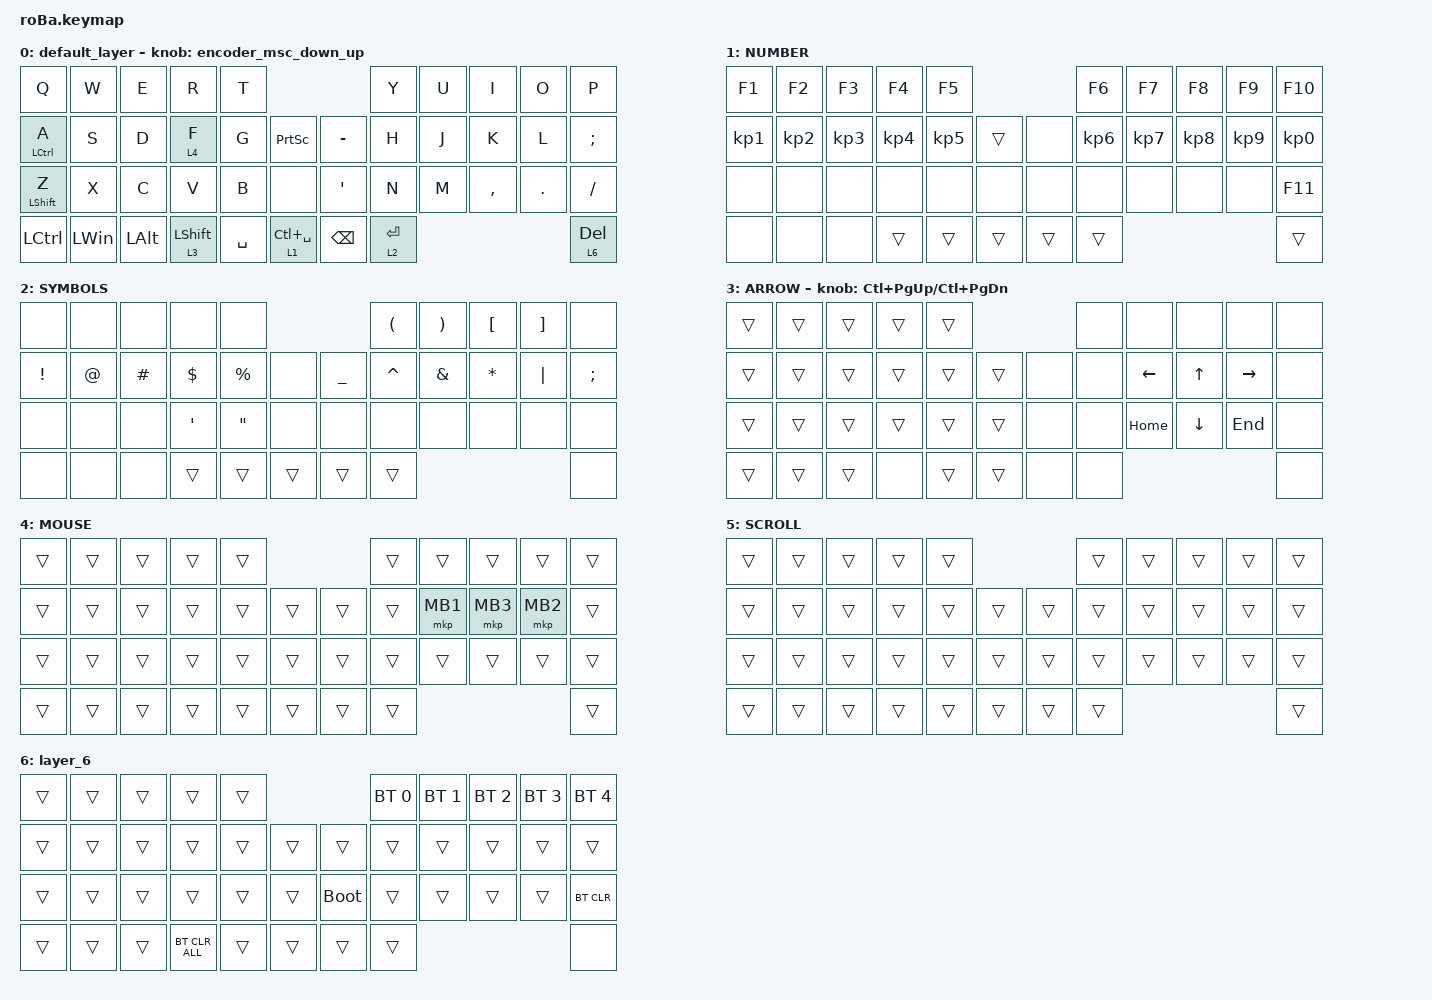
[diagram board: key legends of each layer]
#include <behaviors.dtsi>
#include <dt-bindings/zmk/bt.h>
#include <dt-bindings/zmk/keys.h>
#include <dt-bindings/zmk/pointing.h>

#define ZMK_POINTING_DEFAULT_SCRL_VAL 80

&mt {
    flavor = "balanced";
    quick-tap-ms = <0>;
};

&trackball {
    automouse-layer = <4>;
    scroll-layers = <5>;

    // arrows {
    //     layers = <3>;
    //     bindings =
    //         <&kp RIGHT_ARROW>,
    //         <&kp LEFT_ARROW>,
    //         <&kp UP_ARROW>,
    //         <&kp DOWN_ARROW>;
    //     tick = <10>;
    //     wait-ms = <5>;
    //     tap-ms = <5>;
    // };
};

/ {
    combos {
        compatible = "zmk,combos";

        tab {
            bindings = <&kp TAB>;
            key-positions = <11 12>;
        };

        shift_tab {
            bindings = <&kp LS(TAB)>;
            key-positions = <12 13>;
        };

        muhennkann {
            bindings = <&kp ESC>;
            key-positions = <11 10>;
        };

        double_quotation {
            bindings = <&kp DOUBLE_QUOTES>;
            key-positions = <20 21>;
        };

        eq {
            bindings = <&kp EQUAL>;
            key-positions = <24 25>;
        };

        Cat_alt_del {
            bindings = <&kp LA(LC(DELETE))>;
            key-positions = <10 11 12>;
        };
    };

    macros {
        to_layer_0: to_layer_0 {
            compatible = "zmk,behavior-macro-one-param";
            #binding-cells = <1>;
            bindings = <&to 0 &macro_param_1to1 &kp MACRO_PLACEHOLDER>;
            label = "TO_LAYER_0";
        };
    };

    behaviors {
        lt_to_layer_0: lt_to_layer_0 {
            compatible = "zmk,behavior-hold-tap";
            label = "LAYER_TAP_TO_0";
            bindings = <&mo>, <&to_layer_0>;

            #binding-cells = <2>;
            tapping-term-ms = <200>;
        };

        encoder_msc_down_up: encoder_msc_down_up {
            compatible = "zmk,behavior-sensor-rotate";
            label = "ENCODER_MSC_DOWN_UP";
            #sensor-binding-cells = <0>;
            bindings = <&msc SCRL_DOWN>, <&msc SCRL_UP>;

            tap-ms = <20>;
        };
    };

    keymap {
        compatible = "zmk,keymap";

        default_layer {
            bindings = <
&kp Q               &kp W         &kp E         &kp R             &kp T                                             &kp Y        &kp U  &kp I      &kp O    &kp P
&mt LEFT_CONTROL A  &kp S         &kp D         &lt 4 F           &kp G      &kp PRINTSCREEN      &kp MINUS         &kp H        &kp J  &kp K      &kp L    &kp SEMICOLON
&mt LEFT_SHIFT Z    &kp X         &kp C         &kp V             &kp B      &none                &kp SINGLE_QUOTE  &kp N        &kp M  &kp COMMA  &kp DOT  &kp SLASH
&kp LCTRL           &kp LEFT_WIN  &kp LEFT_ALT  &lt 3 LEFT_SHIFT  &kp SPACE  &lt 1 LC(SPACE)      &kp BACKSPACE     &lt 2 ENTER                             &lt 6 DELETE
            >;

            sensor-bindings = <&encoder_msc_down_up>;
        };

        NUMBER {
            bindings = <
&kp F1     &kp F2     &kp F3     &kp F4     &kp F5                         &kp F6     &kp F7     &kp F8     &kp F9     &kp F10
&kp KP_N1  &kp KP_N2  &kp KP_N3  &kp KP_N4  &kp KP_N5  &trans      &none   &kp KP_N6  &kp KP_N7  &kp KP_N8  &kp KP_N9  &kp KP_N0
&none      &none      &none      &none      &none      &none       &none   &none      &none      &none      &none      &kp F11
&none      &none      &none      &trans     &trans     &trans      &trans  &trans                                      &trans
            >;
        };

        SYMBOLS {
            bindings = <
&none     &none   &none      &none       &none                                          &kp LEFT_PARENTHESIS  &kp RIGHT_PARENTHESIS  &kp LBKT      &kp RBKT  &none
&kp EXCL  &kp AT  &kp POUND  &kp DOLLAR  &kp PERCENT        &none       &kp UNDERSCORE  &kp CARET             &kp AMPERSAND          &kp ASTERISK  &kp PIPE  &kp SEMI
&none     &none   &none      &kp SQT     &kp DOUBLE_QUOTES  &none       &none           &none                 &none                  &none         &none     &none
&none     &none   &none      &trans      &trans             &trans      &trans          &trans                                                               &none
            >;
        };

        ARROW {
            bindings = <
&trans  &trans  &trans  &trans  &trans                     &none  &none           &none           &none            &none
&trans  &trans  &trans  &trans  &trans  &trans      &none  &none  &kp LEFT_ARROW  &kp UP_ARROW    &kp RIGHT_ARROW  &none
&trans  &trans  &trans  &trans  &trans  &trans      &none  &none  &kp HOME        &kp DOWN_ARROW  &kp END          &none
&trans  &trans  &trans  &none   &trans  &trans      &none  &none                                                   &none
            >;

            sensor-bindings = <&inc_dec_kp LC(PAGE_UP) LC(PAGE_DOWN)>;
        };

        MOUSE {
            bindings = <
&trans  &trans  &trans  &trans  &trans                      &trans  &trans    &trans    &trans    &trans
&trans  &trans  &trans  &trans  &trans  &trans      &trans  &trans  &mkp MB1  &mkp MB3  &mkp MB2  &trans
&trans  &trans  &trans  &trans  &trans  &trans      &trans  &trans  &trans    &trans    &trans    &trans
&trans  &trans  &trans  &trans  &trans  &trans      &trans  &trans                                &trans
            >;
        };

        SCROLL {
            bindings = <
&trans  &trans  &trans  &trans  &trans                      &trans  &trans  &trans  &trans  &trans
&trans  &trans  &trans  &trans  &trans  &trans      &trans  &trans  &trans  &trans  &trans  &trans
&trans  &trans  &trans  &trans  &trans  &trans      &trans  &trans  &trans  &trans  &trans  &trans
&trans  &trans  &trans  &trans  &trans  &trans      &trans  &trans                          &trans
            >;
        };

        layer_6 {
            bindings = <
&trans  &trans  &trans  &trans          &trans                           &bt BT_SEL 0  &bt BT_SEL 1  &bt BT_SEL 2  &bt BT_SEL 3  &bt BT_SEL 4
&trans  &trans  &trans  &trans          &trans  &trans      &trans       &trans        &trans        &trans        &trans        &trans
&trans  &trans  &trans  &trans          &trans  &trans      &bootloader  &trans        &trans        &trans        &trans        &bt BT_CLR
&trans  &trans  &trans  &bt BT_CLR_ALL  &trans  &trans      &trans       &trans                                                  &none
            >;
        };
    };
};
